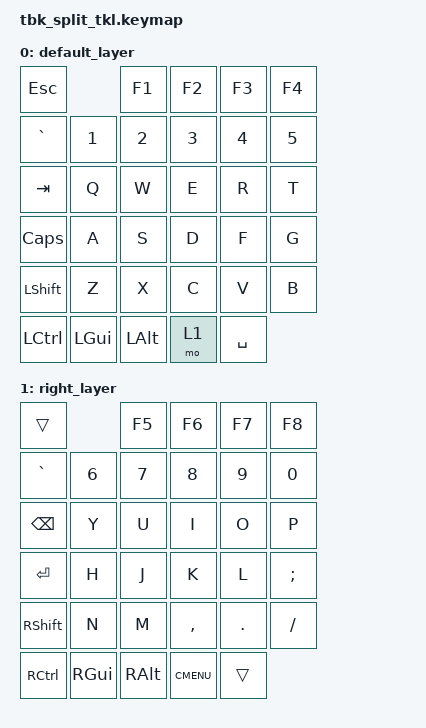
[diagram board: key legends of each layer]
/*
 * Copyright (c) 2021 The ZMK Contributors
 *
 * SPDX-License-Identifier: MIT
 */

#include <behaviors.dtsi>
#include <dt-bindings/zmk/bt.h>
#include <dt-bindings/zmk/keys.h>
#include <dt-bindings/zmk/rgb.h>

/ {
    keymap {
        compatible = "zmk,keymap";

// -------------------------------------          -----------------------------------------------------
// | ESC |     |  F1 |  F2 |  F3 |  F4 |          |  F5 |  F6 |  F7 |  F8 |   |  F9 | F10 | F11 | F12 |
// |  `  |  1  |  2  |  3  |  4  |  5  |        |  6  |  7  |  8  |  9  |  0  |  -  |  =  |  BSPC     |
// | TAB   |  Q  |  W  |  E  |  R  |  T  |        |  Y  |  U  |  I  |  O  |  P  |  [  |  ]  |   \     |
// | CAPS   |  A  |  S  |  D  |  F  |  G  |        |  H  |  J  |  K  |  L  |  ;  |  '  |    ENTER     |
// | SHIFT    |  Z  |  X  |  C  |  V  |  B  |        |  N  |  M  |  ,  |  .  |  /  |        RSHFT     |
// |LCTRL| LGUI| LALT| FN1 |     SPACE      |        |   SPACE        | RALT | RGUI | MENU | RCTRL |
// -------------------------------------------       -----------------------------------------------

        default_layer {
            bindings = <
    &kp ESC            &kp F1   &kp F2    &kp F3    &kp F4  /**/
    &kp GRAVE &kp N1   &kp N2   &kp N3    &kp N4    &kp N5  /**/
    &kp TAB   &kp Q    &kp W    &kp E     &kp R     &kp T   /**/
    &kp CAPS  &kp A    &kp S    &kp D     &kp F     &kp G   /**/
    &kp LSHFT &kp Z    &kp X    &kp C     &kp V     &kp B   /**/
    &kp LCTRL &kp LGUI &kp LALT &mo 1     &kp SPACE         /**/
            >;
        };

//     -----------------------------------------------------
//     |  F5 |  F6 |  F7 |  F8 |   |  F9 | F10 | F11 | F12 |
//   |  6  |  7  |  8  |  9  |  0  |  -  |  =  |  BSPC     |
//     |  Y  |  U  |  I  |  O  |  P  |  [  |  ]  |   \     |
//      |  H  |  J  |  K  |  L  |  ;  |  '  |    ENTER     |
//        |  N  |  M  |  ,  |  .  |  /  |        RSHFT     |
//        |   SPACE        | RALT | RGUI | MENU | RCTRL |
//        -----------------------------------------------

        right_layer {
            bindings = <
    &trans             &kp F5   &kp F6    &kp F7    &kp F8    /**/
    &kp GRAVE &kp N6   &kp N7   &kp N8    &kp N9    &kp N0    /**/
    &kp BSPC  &kp Y    &kp U    &kp I     &kp O     &kp P     /**/
    &kp ENTER &kp H    &kp J    &kp K     &kp L     &kp SEMI  /**/
    &kp RSHFT &kp N    &kp M    &kp COMMA &kp DOT   &kp SLASH /**/
    &kp RCTRL &kp RGUI &kp RALT &kp K_CMENU         &trans    /**/
            >;
        };
    };
};
